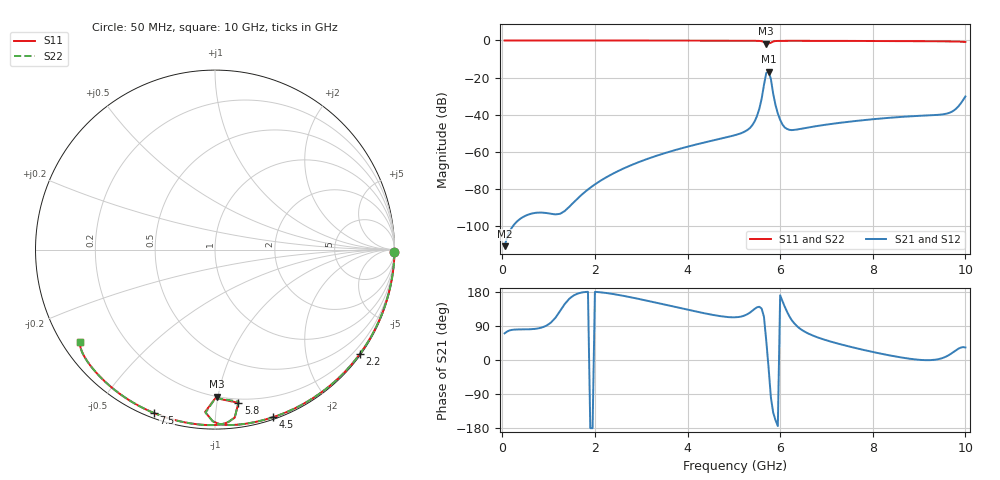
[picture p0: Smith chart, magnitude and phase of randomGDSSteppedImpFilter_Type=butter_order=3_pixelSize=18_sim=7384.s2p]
! freq	dB(S11)	phase(S11)	dB(S12)	phase(S12)
!  dB(S21)	phase(S21)	dB(S22)	phase(S22)
!S-par simulation data
#  GHz  S  DB  R 50
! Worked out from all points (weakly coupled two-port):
!   200 points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, 50 MHz to 10 GHz, reference 50 ohm
!   highest |S21| = -16.84 dB at 5.75 GHz (marker M1); lowest = -110.7 dB at 50 MHz (marker M2)
!   lowest |S11| = -1.7 dB at 5.7 GHz (marker M3), VSWR 10.04, Z = 9.96 - j49.5 ohm
!   |S11| at or under -10 dB: nowhere
!   |S22| runs from -1.6 to 0.0 dB; largest |S21 - S12| = 0
!   S11 on the Smith chart (normalised r, x): 50 MHz: open; 2.2 GHz: 0.03, -3.11; 4.5 GHz: 0.02, -1.41; 5.8 GHz: 0.17, -1.15; 7.5 GHz: 0.02, -0.69; 10 GHz: 0.05, -0.31
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0.05  -0.00 -0.8  -110.72 70.3  -110.72 70.3  -0.00 -0.8
1.75  -0.04 -28.5  -82.27 178.8  -82.27 178.8  -0.04 -28.5
2.2  -0.05 -35.7  -74.31 177.6  -74.31 177.6  -0.05 -35.7
3.4  -0.07 -54.3  -61.50 149.1  -61.50 149.1  -0.07 -54.3
4.5  -0.10 -70.8  -54.10 120.1  -54.10 120.1  -0.10 -70.8
5.05  -0.13 -79.0  -50.79 112.8  -50.79 112.8  -0.13 -79.1
5.3  -0.15 -83.1  -48.07 121.4  -48.07 121.4  -0.15 -83.1
5.45  -0.18 -86.1  -43.51 135.0  -43.51 135.0  -0.18 -86.0
5.55  -0.26 -88.8  -36.78 140.5  -36.78 140.5  -0.25 -88.7
5.65  -0.86 -93.5  -24.03 114.3  -24.03 114.3  -0.81 -93.3
5.7  -1.74 -89.4  -17.50 50.9  -17.50 50.9  -1.64 -89.9
5.75  -1.58 -87.7  -16.84 -20.3  -16.84 -20.3  -1.62 -88.5
5.8  -1.27 -81.3  -20.78 -98.7  -20.78 -98.7  -1.34 -81.2
5.85  -0.51 -83.3  -28.75 -139.0  -28.75 -139.0  -0.53 -83.2
5.95  -0.25 -87.3  -39.33 -174.3  -39.33 -174.3  -0.25 -87.3
6.1  -0.20 -90.6  -46.85 140.3  -46.85 140.3  -0.20 -90.6
6.7  -0.20 -99.8  -46.44 64.8  -46.44 64.8  -0.20 -99.8
7.5  -0.25 -110.6  -43.70 35.3  -43.70 35.3  -0.25 -110.6
8.35  -0.32 -121.7  -41.64 12.5  -41.64 12.5  -0.32 -121.7
9.6  -0.49 -138.7  -39.36 10.1  -39.36 10.1  -0.49 -138.7
9.8  -0.57 -142.0  -36.71 26.0  -36.71 26.0  -0.57 -141.9
10  -0.80 -145.7  -30.15 33.1  -30.15 33.1  -0.77 -145.6
